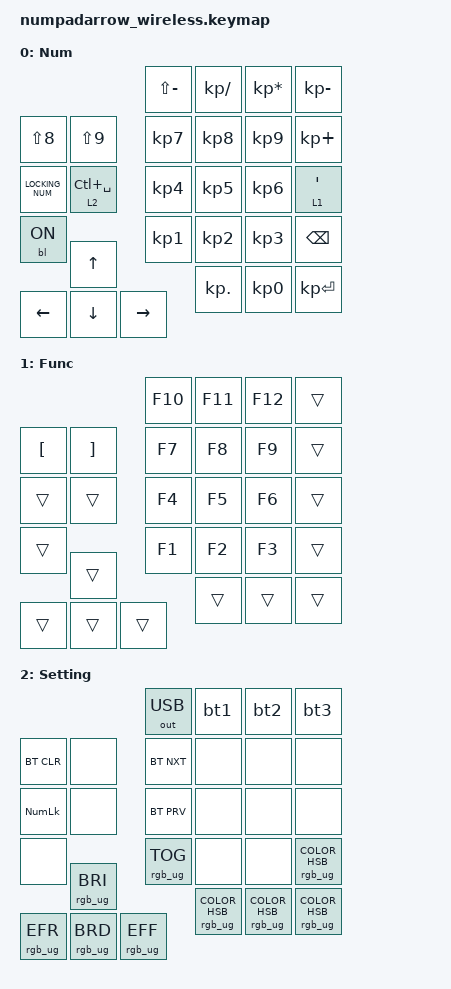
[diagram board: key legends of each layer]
/*
 * Copyright (c) 2020 The ZMK Contributors
 *
 * SPDX-License-Identifier: MIT
 */

#include <behaviors.dtsi>
#include <dt-bindings/zmk/backlight.h>
#include <dt-bindings/zmk/bt.h>
#include <dt-bindings/zmk/keys.h>
#include <dt-bindings/zmk/outputs.h>
#include <dt-bindings/zmk/rgb.h>
#include <dt-bindings/zmk/ext_power.h>

/ {
    macros {
        bt1: bt1 {
            compatible = "zmk,behavior-macro";
            #binding-cells = <0>;
            bindings = <&out OUT_BLE &bt BT_SEL 0>;
            label = "BT1";
        };

        bt2: bt2 {
            compatible = "zmk,behavior-macro";
            #binding-cells = <0>;
            bindings = <&out OUT_BLE &bt BT_SEL 1>;
            label = "BT2";
        };

        bt3: bt3 {
            compatible = "zmk,behavior-macro";
            #binding-cells = <0>;
            bindings = <&out OUT_BLE &bt BT_SEL 2>;
            label = "BT3";
        };
    };

    behaviors {
        changeLayer: changeLayer {
            compatible = "zmk,behavior-hold-tap";
            label = "CHANGELAYER";
            bindings = <&mo>, <&kp>;

            #binding-cells = <2>;
            tapping-term-ms = <200>;
        };

        hold_tap: hold_tap {
            compatible = "zmk,behavior-hold-tap";
            label = "HOLD_TAP";
            bindings = <&kp>, <&kp>;

            #binding-cells = <2>;
            tapping-term-ms = <200>;
        };

        hold: hold {
            compatible = "zmk,behavior-hold-tap";
            label = "HOLD";
            bindings = <&none>, <&kp>;

            #binding-cells = <2>;
            tapping-term-ms = <100>;
        };
    };

    keymap {
        compatible = "zmk,keymap";

        default_layer {
            // -------------------
            // | 7      |  8  |  9  |
            // | 4      |  5  |  6  |
            // | 1      |  2  |  3  |
            // | MO(1)  |  0  |  .  |
            // ----------------------

            bindings = <
                                           &kp LS(MINUS)    &kp KP_SLASH     &kp KP_ASTERISK  &kp KP_MINUS
&kp LS(N8)       &kp LS(N9)                &kp KP_NUMBER_7  &kp KP_NUMBER_8  &kp KP_NUMBER_9  &kp KP_PLUS
&kp LOCKING_NUM  &changeLayer 2 LC(SPACE)  &kp KP_NUMBER_4  &kp KP_NUMBER_5  &kp KP_NUMBER_6  &changeLayer 1 SQT
&bl BL_ON        &kp UP_ARROW              &kp KP_NUMBER_1  &kp KP_NUMBER_2  &kp KP_NUMBER_3  &kp BACKSPACE
&kp LEFT         &kp DOWN_ARROW            &kp RIGHT        &kp KP_DOT       &kp KP_N0        &kp KP_ENTER
            >;

            label = "Num";
        };

        FunctionLayer {
            bindings = <
                    &kp F10  &kp F11  &kp F12  &trans
&kp LBKT  &kp RBKT  &kp F7   &kp F8   &kp F9   &trans
&trans    &trans    &kp F4   &kp F5   &kp F6   &trans
&trans    &trans    &kp F1   &kp F2   &kp F3   &trans
&trans    &trans    &trans   &trans   &trans   &trans
            >;

            label = "Func";
        };

        Setting {
            bindings = <
                                  &out OUT_USB     &bt1                             &bt2                               &bt3
&bt BT_CLR       &none            &bt BT_NXT       &none                            &none                              &none
&kp KP_NUMLOCK   &none            &bt BT_PRV       &none                            &none                              &none
&none            &rgb_ug RGB_BRI  &rgb_ug RGB_TOG  &none                            &none                              &rgb_ug RGB_COLOR_HSB(0,0,100)
&rgb_ug RGB_EFR  &rgb_ug RGB_BRD  &rgb_ug RGB_EFF  &rgb_ug RGB_COLOR_HSB(0,100,50)  &rgb_ug RGB_COLOR_HSB(108,100,50)  &rgb_ug RGB_COLOR_HSB(247,91,49)
            >;

            label = "Setting";
        };
        
        extra1 {
            status = "reserved";
        };

        extra2 {
            status = "reserved";
        };
        extra3 {
            status = "reserved";
        };

        extra4 {
            status = "reserved";
        };
        extra5 {
            status = "reserved";
        };
    };
};
